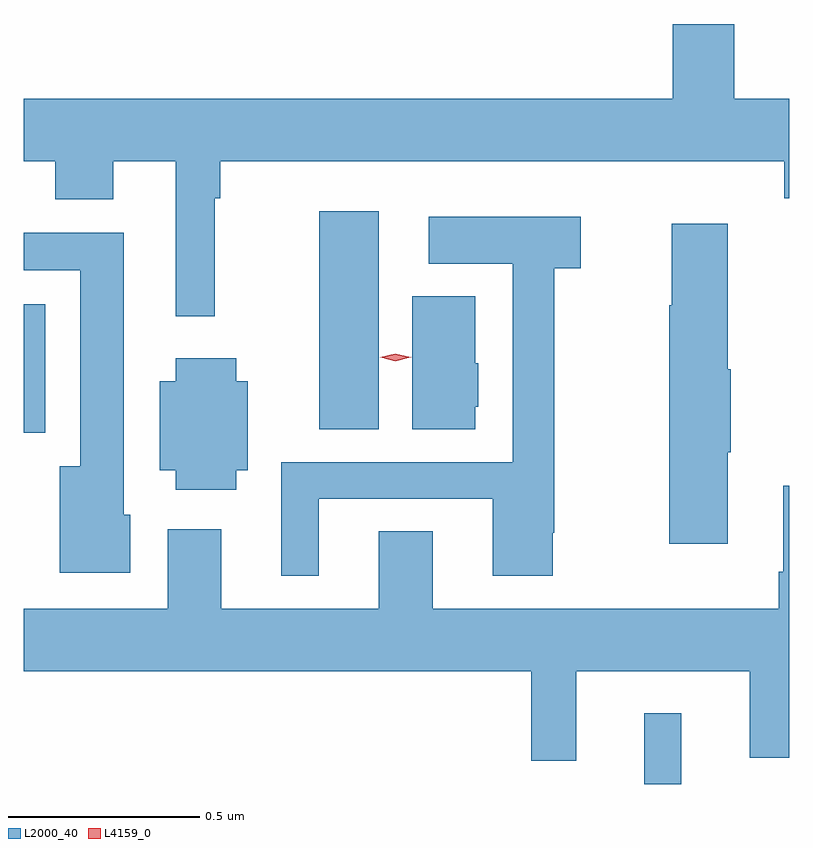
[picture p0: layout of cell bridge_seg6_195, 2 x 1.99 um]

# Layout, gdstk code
import gdstk
lib = gdstk.Library(unit=1e-6, precision=1e-09)
def R(c, l, rs):  # rectangles x0, y0, x1, y1
    for r in rs: c.add(gdstk.rectangle(r[:2], r[2:], *l))
def P(c, l, *ps):  # polygons
    for p in ps: c.add(gdstk.Polygon(p, *l))
L2000_40 = (2000, 40)
L4159_0 = (4159, 0)

bridge_seg6_195 = lib.new_cell('bridge_seg6_195')
R(bridge_seg6_195, L2000_40, [(282.284,928.394,282.381,928.579), (280.663,929.312,280.72,929.647), (281.435,929.32,281.59,929.89)])
P(bridge_seg6_195, L2000_40, [(281.162,929.924),(281.177,929.924),(281.177,930.02),(282.649,930.02),(282.649,929.924),(282.663,929.924),(282.663,930.184),(282.519,930.184),(282.519,930.379),(282.359,930.379),(282.359,930.184),(280.663,930.184),(280.663,930.02),(280.745,930.02),(280.745,929.921),(280.897,929.921),(280.897,930.02),(281.06,930.02),(281.06,929.616),(281.162,929.616)],
  [(281.434,929.139),(281.888,929.139),(281.888,928.938),(282.045,928.938),(282.045,929.05),(282.049,929.05),(282.049,929.741),(282.118,929.741),(282.118,929.875),(281.721,929.875),(281.721,929.753),(281.94,929.753),(281.94,929.235),(281.336,929.235),(281.336,928.938),(281.434,928.938)],
  [(282.502,929.26),(282.51,929.26),(282.51,929.477),(282.502,929.477),(282.502,929.857),(282.356,929.857),(282.356,929.644),(282.349,929.644),(282.349,929.022),(282.502,929.022)],
  [(280.942,929.097),(280.924,929.097),(280.924,929.834),(280.663,929.834),(280.663,929.736),(280.811,929.736),(280.811,929.224),(280.757,929.224),(280.757,928.946),(280.942,928.946)],
  [(281.842,929.379),(281.851,929.379),(281.851,929.493),(281.842,929.493),(281.842,929.668),(281.678,929.668),(281.678,929.32),(281.842,929.32)],
  [(281.218,929.213),(281.248,929.213),(281.248,929.446),(281.218,929.446),(281.218,929.506),(281.06,929.506),(281.06,929.446),(281.018,929.446),(281.018,929.213),(281.06,929.213),(281.06,929.162),(281.218,929.162)],
  [(282.107,928.688),(282.56,928.688),(282.56,928.463),(282.663,928.463),(282.663,929.173),(282.647,929.173),(282.647,928.948),(282.635,928.948),(282.635,928.852),(281.731,928.852),(281.731,929.054),(281.591,929.054),(281.591,928.852),(281.179,928.852),(281.179,929.059),(281.039,929.059),(281.039,928.852),(280.663,928.852),(280.663,928.688),(281.989,928.688),(281.989,928.455),(282.107,928.455)])
P(bridge_seg6_195, L4159_0, [(281.634,929.498),(281.594,929.508),(281.594,929.508),(281.594,929.508),(281.634,929.518),(281.674,929.508),(281.675,929.508),(281.674,929.508)])

lib.write_gds('bridge_seg6_195.gds')
